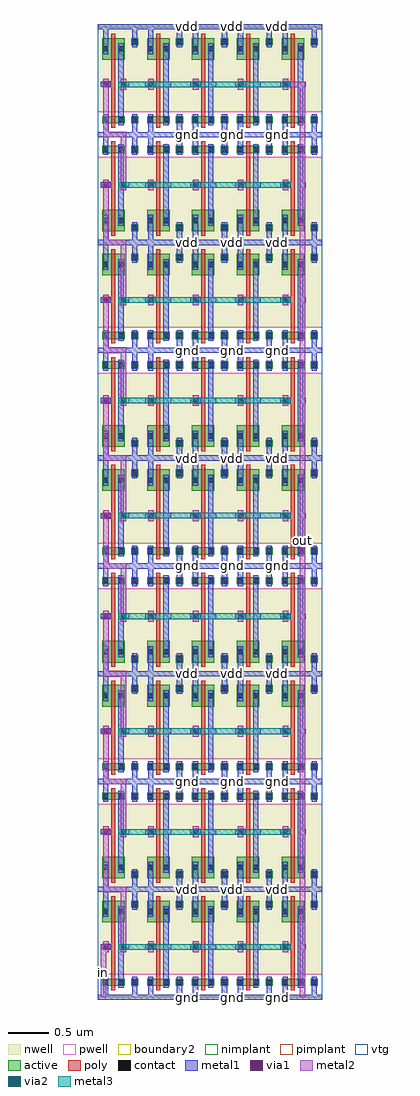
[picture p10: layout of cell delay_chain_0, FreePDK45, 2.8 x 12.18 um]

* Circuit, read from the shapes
.subckt delay_chain_0 gnd in out vdd
M1 pinv_18_1/A in gnd gnd nfet w=0.09u l=0.05u
M2 pinv_18_10/A pinv_18_1/A gnd gnd nfet w=0.09u l=0.05u
M3 pinv_18_11/A pinv_18_10/A gnd gnd nfet w=0.09u l=0.05u
M4 pinv_18_16/A pinv_18_11/A gnd gnd nfet w=0.09u l=0.05u
M5 pinv_18_21/A pinv_18_16/A gnd gnd nfet w=0.09u l=0.05u
M6 pinv_18_26/A pinv_18_21/A gnd gnd nfet w=0.09u l=0.05u
M7 pinv_18_31/A pinv_18_26/A gnd gnd nfet w=0.09u l=0.05u
M8 pinv_18_36/A pinv_18_31/A gnd gnd nfet w=0.09u l=0.05u
M9 out pinv_18_36/A gnd gnd nfet w=0.09u l=0.05u
M10 pinv_18_1/Z pinv_18_1/A gnd gnd nfet w=0.09u l=0.05u
M11 pinv_18_6/Z pinv_18_10/A gnd gnd nfet w=0.09u l=0.05u
M12 pinv_18_11/Z pinv_18_11/A gnd gnd nfet w=0.09u l=0.05u
M13 pinv_18_16/Z pinv_18_16/A gnd gnd nfet w=0.09u l=0.05u
M14 pinv_18_21/Z pinv_18_21/A gnd gnd nfet w=0.09u l=0.05u
M15 pinv_18_26/Z pinv_18_26/A gnd gnd nfet w=0.09u l=0.05u
M16 pinv_18_31/Z pinv_18_31/A gnd gnd nfet w=0.09u l=0.05u
M17 pinv_18_36/Z pinv_18_36/A gnd gnd nfet w=0.09u l=0.05u
M18 pinv_18_41/Z out gnd gnd nfet w=0.09u l=0.05u
M19 pinv_18_2/Z pinv_18_1/A gnd gnd nfet w=0.09u l=0.05u
M20 pinv_18_7/Z pinv_18_10/A gnd gnd nfet w=0.09u l=0.05u
M21 pinv_18_12/Z pinv_18_11/A gnd gnd nfet w=0.09u l=0.05u
M22 pinv_18_17/Z pinv_18_16/A gnd gnd nfet w=0.09u l=0.05u
M23 pinv_18_22/Z pinv_18_21/A gnd gnd nfet w=0.09u l=0.05u
M24 pinv_18_27/Z pinv_18_26/A gnd gnd nfet w=0.09u l=0.05u
M25 pinv_18_32/Z pinv_18_31/A gnd gnd nfet w=0.09u l=0.05u
M26 pinv_18_37/Z pinv_18_36/A gnd gnd nfet w=0.09u l=0.05u
M27 pinv_18_42/Z out gnd gnd nfet w=0.09u l=0.05u
M28 pinv_18_3/Z pinv_18_1/A gnd gnd nfet w=0.09u l=0.05u
M29 pinv_18_8/Z pinv_18_10/A gnd gnd nfet w=0.09u l=0.05u
M30 pinv_18_13/Z pinv_18_11/A gnd gnd nfet w=0.09u l=0.05u
M31 pinv_18_18/Z pinv_18_16/A gnd gnd nfet w=0.09u l=0.05u
M32 pinv_18_23/Z pinv_18_21/A gnd gnd nfet w=0.09u l=0.05u
M33 pinv_18_28/Z pinv_18_26/A gnd gnd nfet w=0.09u l=0.05u
M34 pinv_18_33/Z pinv_18_31/A gnd gnd nfet w=0.09u l=0.05u
M35 pinv_18_38/Z pinv_18_36/A gnd gnd nfet w=0.09u l=0.05u
M36 pinv_18_43/Z out gnd gnd nfet w=0.09u l=0.05u
M37 pinv_18_4/Z pinv_18_1/A gnd gnd nfet w=0.09u l=0.05u
M38 pinv_18_9/Z pinv_18_10/A gnd gnd nfet w=0.09u l=0.05u
M39 pinv_18_14/Z pinv_18_11/A gnd gnd nfet w=0.09u l=0.05u
M40 pinv_18_19/Z pinv_18_16/A gnd gnd nfet w=0.09u l=0.05u
M41 pinv_18_24/Z pinv_18_21/A gnd gnd nfet w=0.09u l=0.05u
M42 pinv_18_29/Z pinv_18_26/A gnd gnd nfet w=0.09u l=0.05u
M43 pinv_18_34/Z pinv_18_31/A gnd gnd nfet w=0.09u l=0.05u
M44 pinv_18_39/Z pinv_18_36/A gnd gnd nfet w=0.09u l=0.05u
M45 pinv_18_44/Z out gnd gnd nfet w=0.09u l=0.05u
M46 pinv_18_1/A in vdd vdd pfet w=0.27u l=0.05u
M47 pinv_18_10/A pinv_18_1/A vdd vdd pfet w=0.27u l=0.05u
M48 pinv_18_11/A pinv_18_10/A vdd vdd pfet w=0.27u l=0.05u
M49 pinv_18_16/A pinv_18_11/A vdd vdd pfet w=0.27u l=0.05u
M50 pinv_18_21/A pinv_18_16/A vdd vdd pfet w=0.27u l=0.05u
M51 pinv_18_26/A pinv_18_21/A vdd vdd pfet w=0.27u l=0.05u
M52 pinv_18_31/A pinv_18_26/A vdd vdd pfet w=0.27u l=0.05u
M53 pinv_18_36/A pinv_18_31/A vdd vdd pfet w=0.27u l=0.05u
M54 out pinv_18_36/A vdd vdd pfet w=0.27u l=0.05u
M55 pinv_18_1/Z pinv_18_1/A vdd vdd pfet w=0.27u l=0.05u
M56 pinv_18_6/Z pinv_18_10/A vdd vdd pfet w=0.27u l=0.05u
M57 pinv_18_11/Z pinv_18_11/A vdd vdd pfet w=0.27u l=0.05u
M58 pinv_18_16/Z pinv_18_16/A vdd vdd pfet w=0.27u l=0.05u
M59 pinv_18_21/Z pinv_18_21/A vdd vdd pfet w=0.27u l=0.05u
M60 pinv_18_26/Z pinv_18_26/A vdd vdd pfet w=0.27u l=0.05u
M61 pinv_18_31/Z pinv_18_31/A vdd vdd pfet w=0.27u l=0.05u
M62 pinv_18_36/Z pinv_18_36/A vdd vdd pfet w=0.27u l=0.05u
M63 pinv_18_41/Z out vdd vdd pfet w=0.27u l=0.05u
M64 pinv_18_2/Z pinv_18_1/A vdd vdd pfet w=0.27u l=0.05u
M65 pinv_18_7/Z pinv_18_10/A vdd vdd pfet w=0.27u l=0.05u
M66 pinv_18_12/Z pinv_18_11/A vdd vdd pfet w=0.27u l=0.05u
M67 pinv_18_17/Z pinv_18_16/A vdd vdd pfet w=0.27u l=0.05u
M68 pinv_18_22/Z pinv_18_21/A vdd vdd pfet w=0.27u l=0.05u
M69 pinv_18_27/Z pinv_18_26/A vdd vdd pfet w=0.27u l=0.05u
M70 pinv_18_32/Z pinv_18_31/A vdd vdd pfet w=0.27u l=0.05u
M71 pinv_18_37/Z pinv_18_36/A vdd vdd pfet w=0.27u l=0.05u
M72 pinv_18_42/Z out vdd vdd pfet w=0.27u l=0.05u
M73 pinv_18_3/Z pinv_18_1/A vdd vdd pfet w=0.27u l=0.05u
M74 pinv_18_8/Z pinv_18_10/A vdd vdd pfet w=0.27u l=0.05u
M75 pinv_18_13/Z pinv_18_11/A vdd vdd pfet w=0.27u l=0.05u
M76 pinv_18_18/Z pinv_18_16/A vdd vdd pfet w=0.27u l=0.05u
M77 pinv_18_23/Z pinv_18_21/A vdd vdd pfet w=0.27u l=0.05u
M78 pinv_18_28/Z pinv_18_26/A vdd vdd pfet w=0.27u l=0.05u
M79 pinv_18_33/Z pinv_18_31/A vdd vdd pfet w=0.27u l=0.05u
M80 pinv_18_38/Z pinv_18_36/A vdd vdd pfet w=0.27u l=0.05u
M81 pinv_18_43/Z out vdd vdd pfet w=0.27u l=0.05u
M82 pinv_18_4/Z pinv_18_1/A vdd vdd pfet w=0.27u l=0.05u
M83 pinv_18_9/Z pinv_18_10/A vdd vdd pfet w=0.27u l=0.05u
M84 pinv_18_14/Z pinv_18_11/A vdd vdd pfet w=0.27u l=0.05u
M85 pinv_18_19/Z pinv_18_16/A vdd vdd pfet w=0.27u l=0.05u
M86 pinv_18_24/Z pinv_18_21/A vdd vdd pfet w=0.27u l=0.05u
M87 pinv_18_29/Z pinv_18_26/A vdd vdd pfet w=0.27u l=0.05u
M88 pinv_18_34/Z pinv_18_31/A vdd vdd pfet w=0.27u l=0.05u
M89 pinv_18_39/Z pinv_18_36/A vdd vdd pfet w=0.27u l=0.05u
M90 pinv_18_44/Z out vdd vdd pfet w=0.27u l=0.05u
.ends

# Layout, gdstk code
import gdstk
lib = gdstk.Library(unit=1e-6, precision=5e-10)
def R(c, l, rs):  # rectangles x0, y0, x1, y1
    for r in rs: c.add(gdstk.rectangle(r[:2], r[2:], *l))
def A(c, l, x, y, w, h, nx, ny, dx, dy):  # array of equal rectangles
    R(c, l, [(x+i*dx, y+j*dy, x+i*dx+w, y+j*dy+h) for i in range(nx) for j in range(ny)])
active = (1, 0)
pwell = (2, 0)
nwell = (3, 0)
nimplant = (4, 0)
pimplant = (5, 0)
vtg = (6, 0)
poly = (9, 0)
contact = (10, 0)
metal1 = (11, 0)
via1 = (12, 0)
metal2 = (13, 0)
via2 = (14, 0)
metal3 = (15, 0)
boundary2 = (239, 0)

contact_9 = lib.new_cell('contact_9')
R(contact_9, active, [(0,0.0225,0.09,0.1125)])
R(contact_9, nwell, [(-0.055,-0.0325,0.145,0.1675)])
R(contact_9, pimplant, [(0,0.0225,0.09,0.1125)])
R(contact_9, contact, [(0.0125,0.035,0.0775,0.1)])
R(contact_9, metal1, [(0.0125,0,0.0775,0.135)])

pmos_m1_w0_270_a_p = lib.new_cell('pmos_m1_w0_270_a_p')
R(pmos_m1_w0_270_a_p, active, [(0,0,0.28,0.27)])
R(pmos_m1_w0_270_a_p, nwell, [(-0.055,-0.055,0.335,0.325)])
R(pmos_m1_w0_270_a_p, pimplant, [(0,0,0.28,0.27)])
R(pmos_m1_w0_270_a_p, vtg, [(-0.055,-0.055,0.335,0.325)])
R(pmos_m1_w0_270_a_p, poly, [(0.115,-0.055,0.165,0.325), (0.115,-0.055,0.165,0.325)])
R(pmos_m1_w0_270_a_p, metal1, [(0.0125,0.0675,0.0775,0.2025), (0.2025,0.0675,0.2675,0.2025)])
pmos_m1_w0_270_a_p.add(gdstk.Reference(contact_9, (0,0.0675)))
pmos_m1_w0_270_a_p.add(gdstk.Reference(contact_9, (0.19,0.0675)))
pmos_m1_w0_270_a_p.add(gdstk.Label('G', (0.14,0.135), layer=9, texttype=0))
pmos_m1_w0_270_a_p.add(gdstk.Label('S', (0.045,0.135), layer=11, texttype=0))
pmos_m1_w0_270_a_p.add(gdstk.Label('D', (0.235,0.135), layer=11, texttype=0))

contact_14 = lib.new_cell('contact_14')
R(contact_14, active, [(0,0.0225,0.09,0.1125)])
R(contact_14, pwell, [(-0.055,-0.0325,0.145,0.1675)])
R(contact_14, nimplant, [(0,0.0225,0.09,0.1125)])
R(contact_14, contact, [(0.0125,0.035,0.0775,0.1)])
R(contact_14, metal1, [(0.0125,0,0.0775,0.135)])

nmos_m1_w0_090_a_p = lib.new_cell('nmos_m1_w0_090_a_p')
R(nmos_m1_w0_090_a_p, active, [(0,0,0.28,0.09)])
R(nmos_m1_w0_090_a_p, pwell, [(-0.055,-0.055,0.335,0.145)])
R(nmos_m1_w0_090_a_p, nimplant, [(0,0,0.28,0.09)])
R(nmos_m1_w0_090_a_p, vtg, [(-0.055,-0.055,0.335,0.145)])
R(nmos_m1_w0_090_a_p, poly, [(0.115,-0.055,0.165,0.145), (0.115,-0.055,0.165,0.145)])
R(nmos_m1_w0_090_a_p, metal1, [(0.0125,-0.0225,0.0775,0.1125), (0.2025,-0.0225,0.2675,0.1125)])
nmos_m1_w0_090_a_p.add(gdstk.Reference(contact_14, (0,-0.0225)))
nmos_m1_w0_090_a_p.add(gdstk.Reference(contact_14, (0.19,-0.0225)))
nmos_m1_w0_090_a_p.add(gdstk.Label('G', (0.14,0.045), layer=9, texttype=0))
nmos_m1_w0_090_a_p.add(gdstk.Label('S', (0.045,0.045), layer=11, texttype=0))
nmos_m1_w0_090_a_p.add(gdstk.Label('D', (0.235,0.045), layer=11, texttype=0))

contact_18 = lib.new_cell('contact_18')
R(contact_18, active, [(0,0.0225,0.09,0.1125)])
R(contact_18, nwell, [(-0.055,-0.0325,0.145,0.1675)])
R(contact_18, nimplant, [(0,0.0225,0.09,0.1125)])
R(contact_18, contact, [(0.0125,0.035,0.0775,0.1)])
R(contact_18, metal1, [(0.0125,0,0.0775,0.135)])

contact_19 = lib.new_cell('contact_19')
R(contact_19, active, [(0,0.0225,0.09,0.1125)])
R(contact_19, pwell, [(-0.055,-0.0325,0.145,0.1675)])
R(contact_19, pimplant, [(0,0.0225,0.09,0.1125)])
R(contact_19, contact, [(0.0125,0.035,0.0775,0.1)])
R(contact_19, metal1, [(0.0125,0,0.0775,0.135)])

contact_10 = lib.new_cell('contact_10')
R(contact_10, poly, [(0.03,0,0.105,0.075)])
R(contact_10, contact, [(0.035,0.005,0.1,0.07)])
R(contact_10, metal1, [(0,0.005,0.135,0.07)])

pinv_18 = lib.new_cell('pinv_18')
R(pinv_18, pwell, [(0,-0.0325,0.56,0.285)])
R(pinv_18, nwell, [(0,0.285,0.56,1.3775)])
R(pinv_18, vtg, [(0,-0.0325,0.56,0.285), (0,0.285,0.56,1.3775)])
R(pinv_18, poly, [(0.17,0.085,0.22,0.88), (0.1025,0.59,0.17,0.665)])
R(pinv_18, metal1, [(0,-0.0325,0.56,0.0325), (0.0675,-0.0325,0.1325,0.1175), (0.4275,0,0.4925,0.185), (0.2575,0.1175,0.3225,1.1375), (0.035,0.595,0.17,0.66), (0.29,0.595,0.355,0.66), (0.0675,1.0025,0.1325,1.3775), (0.4275,1.16,0.4925,1.345), (0,1.3125,0.56,1.3775)])
R(pinv_18, boundary2, [(0,0,0.56,1.345)])
pinv_18.add(gdstk.Reference(pmos_m1_w0_270_a_p, (0.055,0.935)))
pinv_18.add(gdstk.Reference(nmos_m1_w0_090_a_p, (0.055,0.14)))
pinv_18.add(gdstk.Reference(contact_18, (0.415,1.0925)))
pinv_18.add(gdstk.Reference(contact_19, (0.415,0.1175)))
pinv_18.add(gdstk.Reference(contact_10, (0.035,0.59)))
pinv_18.add(gdstk.Label('gnd', (0.28,0), layer=11, texttype=0))
pinv_18.add(gdstk.Label('vdd', (0.28,1.345), layer=11, texttype=0))
pinv_18.add(gdstk.Label('A', (0.1025,0.6275), layer=11, texttype=0))
pinv_18.add(gdstk.Label('Z', (0.3225,0.6275), layer=11, texttype=0))

contact_16 = lib.new_cell('contact_16')
R(contact_16, metal1, [(0,0.035,0.135,0.1)])
R(contact_16, via1, [(0.035,0.035,0.1,0.1)])
R(contact_16, metal2, [(0.0325,0,0.1025,0.135)])

contact_7 = lib.new_cell('contact_7')
R(contact_7, metal2, [(0.0325,0,0.1025,0.135)])
R(contact_7, via2, [(0.035,0.035,0.1,0.1)])
R(contact_7, metal3, [(0,0.0325,0.135,0.1025)])

contact_5 = lib.new_cell('contact_5')
R(contact_5, metal1, [(0,0.0025,0.135,0.0675)])
R(contact_5, via1, [(0.035,0.0025,0.1,0.0675)])
R(contact_5, metal2, [(0,0,0.135,0.07)])

contact_6 = lib.new_cell('contact_6')
R(contact_6, metal2, [(0,0,0.135,0.07)])
R(contact_6, via2, [(0.035,0.0025,0.1,0.0675)])
R(contact_6, metal3, [(0,0,0.135,0.07)])

delay_chain_0 = lib.new_cell('delay_chain_0')
A(delay_chain_0, metal2, 0.2875, 0.6275, 0.07, 0.7175, 1, 4, 0, 2.69)
A(delay_chain_0, metal2, 0.0675, 1.31, 0.07, 0.07, 1, 8, 0, 1.345)
A(delay_chain_0, metal2, 0.1025, 1.31, 0.22, 0.07, 1, 8, 0, 1.345)
A(delay_chain_0, metal2, 0.2875, 1.31, 0.07, 0.07, 1, 8, 0, 1.345)
A(delay_chain_0, metal2, 0.0675, 1.345, 0.07, 0.7175, 1, 4, 0, 2.69)
A(delay_chain_0, metal2, 0.2875, 2.0625, 0.07, 0.6275, 1, 4, 0, 2.69)
A(delay_chain_0, metal2, 0.0675, 2.69, 0.07, 0.6275, 1, 4, 0, 2.69)
R(delay_chain_0, metal2, [(0.035,0,0.105,0.6275), (2.5175,0,2.5875,11.3875), (2.5175,0,2.5875,11.3875), (2.3425,11.3525,2.5525,11.4225), (2.5175,11.3525,2.5875,11.4225)])
A(delay_chain_0, metal3, 1.0525, -0.035, 0.135, 0.07, 3, 10, 0.56, 1.345)
R(delay_chain_0, metal3, [(0.3225,0.5925,2.3425,0.6625), (0.3225,2.0275,2.3425,2.0975), (0.3225,3.2825,2.3425,3.3525), (0.3225,4.7175,2.3425,4.7875), (0.3225,5.9725,2.3425,6.0425), (0.3225,7.4075,2.3425,7.4775), (0.3225,8.6625,2.3425,8.7325), (0.3225,10.0975,2.3425,10.1675), (0.3225,11.3525,2.3425,11.4225)])
R(delay_chain_0, boundary2, [(0,0,2.8,12.105)])
delay_chain_0.add(gdstk.Reference(pinv_18, (0,0)))
delay_chain_0.add(gdstk.Reference(pinv_18, (0.56,0)))
delay_chain_0.add(gdstk.Reference(pinv_18, (1.12,0)))
delay_chain_0.add(gdstk.Reference(pinv_18, (1.68,0)))
delay_chain_0.add(gdstk.Reference(pinv_18, (2.24,0)))
delay_chain_0.add(gdstk.Reference(pinv_18, (0,2.69), x_reflection=True))
delay_chain_0.add(gdstk.Reference(pinv_18, (0.56,2.69), x_reflection=True))
delay_chain_0.add(gdstk.Reference(pinv_18, (1.12,2.69), x_reflection=True))
delay_chain_0.add(gdstk.Reference(pinv_18, (1.68,2.69), x_reflection=True))
delay_chain_0.add(gdstk.Reference(pinv_18, (2.24,2.69), x_reflection=True))
delay_chain_0.add(gdstk.Reference(pinv_18, (0,2.69)))
delay_chain_0.add(gdstk.Reference(pinv_18, (0.56,2.69)))
delay_chain_0.add(gdstk.Reference(pinv_18, (1.12,2.69)))
delay_chain_0.add(gdstk.Reference(pinv_18, (1.68,2.69)))
delay_chain_0.add(gdstk.Reference(pinv_18, (2.24,2.69)))
delay_chain_0.add(gdstk.Reference(pinv_18, (0,5.38), x_reflection=True))
delay_chain_0.add(gdstk.Reference(pinv_18, (0.56,5.38), x_reflection=True))
delay_chain_0.add(gdstk.Reference(pinv_18, (1.12,5.38), x_reflection=True))
delay_chain_0.add(gdstk.Reference(pinv_18, (1.68,5.38), x_reflection=True))
delay_chain_0.add(gdstk.Reference(pinv_18, (2.24,5.38), x_reflection=True))
delay_chain_0.add(gdstk.Reference(pinv_18, (0,5.38)))
delay_chain_0.add(gdstk.Reference(pinv_18, (0.56,5.38)))
delay_chain_0.add(gdstk.Reference(pinv_18, (1.12,5.38)))
delay_chain_0.add(gdstk.Reference(pinv_18, (1.68,5.38)))
delay_chain_0.add(gdstk.Reference(pinv_18, (2.24,5.38)))
delay_chain_0.add(gdstk.Reference(pinv_18, (0,8.07), x_reflection=True))
delay_chain_0.add(gdstk.Reference(pinv_18, (0.56,8.07), x_reflection=True))
delay_chain_0.add(gdstk.Reference(pinv_18, (1.12,8.07), x_reflection=True))
delay_chain_0.add(gdstk.Reference(pinv_18, (1.68,8.07), x_reflection=True))
delay_chain_0.add(gdstk.Reference(pinv_18, (2.24,8.07), x_reflection=True))
delay_chain_0.add(gdstk.Reference(pinv_18, (0,8.07)))
delay_chain_0.add(gdstk.Reference(pinv_18, (0.56,8.07)))
delay_chain_0.add(gdstk.Reference(pinv_18, (1.12,8.07)))
delay_chain_0.add(gdstk.Reference(pinv_18, (1.68,8.07)))
delay_chain_0.add(gdstk.Reference(pinv_18, (2.24,8.07)))
delay_chain_0.add(gdstk.Reference(pinv_18, (0,10.76), x_reflection=True))
delay_chain_0.add(gdstk.Reference(pinv_18, (0.56,10.76), x_reflection=True))
delay_chain_0.add(gdstk.Reference(pinv_18, (1.12,10.76), x_reflection=True))
delay_chain_0.add(gdstk.Reference(pinv_18, (1.68,10.76), x_reflection=True))
delay_chain_0.add(gdstk.Reference(pinv_18, (2.24,10.76), x_reflection=True))
delay_chain_0.add(gdstk.Reference(pinv_18, (0,10.76)))
delay_chain_0.add(gdstk.Reference(pinv_18, (0.56,10.76)))
delay_chain_0.add(gdstk.Reference(pinv_18, (1.12,10.76)))
delay_chain_0.add(gdstk.Reference(pinv_18, (1.68,10.76)))
delay_chain_0.add(gdstk.Reference(pinv_18, (2.24,10.76)))
delay_chain_0.add(gdstk.Reference(contact_16, (0.595,0.56)))
delay_chain_0.add(gdstk.Reference(contact_7, (0.595,0.56)))
delay_chain_0.add(gdstk.Reference(contact_16, (1.155,0.56)))
delay_chain_0.add(gdstk.Reference(contact_7, (1.155,0.56)))
delay_chain_0.add(gdstk.Reference(contact_16, (1.715,0.56)))
delay_chain_0.add(gdstk.Reference(contact_7, (1.715,0.56)))
delay_chain_0.add(gdstk.Reference(contact_16, (2.275,0.56)))
delay_chain_0.add(gdstk.Reference(contact_7, (2.275,0.56)))
delay_chain_0.add(gdstk.Reference(contact_16, (0.035,0.56)))
delay_chain_0.add(gdstk.Reference(contact_16, (0.255,0.56)))
delay_chain_0.add(gdstk.Reference(contact_7, (0.255,0.56)))
delay_chain_0.add(gdstk.Reference(contact_16, (0.595,1.995)))
delay_chain_0.add(gdstk.Reference(contact_7, (0.595,1.995)))
delay_chain_0.add(gdstk.Reference(contact_16, (1.155,1.995)))
delay_chain_0.add(gdstk.Reference(contact_7, (1.155,1.995)))
delay_chain_0.add(gdstk.Reference(contact_16, (1.715,1.995)))
delay_chain_0.add(gdstk.Reference(contact_7, (1.715,1.995)))
delay_chain_0.add(gdstk.Reference(contact_16, (2.275,1.995)))
delay_chain_0.add(gdstk.Reference(contact_7, (2.275,1.995)))
delay_chain_0.add(gdstk.Reference(contact_16, (0.035,1.995)))
delay_chain_0.add(gdstk.Reference(contact_16, (0.255,1.995)))
delay_chain_0.add(gdstk.Reference(contact_7, (0.255,1.995)))
delay_chain_0.add(gdstk.Reference(contact_16, (0.595,3.25)))
delay_chain_0.add(gdstk.Reference(contact_7, (0.595,3.25)))
delay_chain_0.add(gdstk.Reference(contact_16, (1.155,3.25)))
delay_chain_0.add(gdstk.Reference(contact_7, (1.155,3.25)))
delay_chain_0.add(gdstk.Reference(contact_16, (1.715,3.25)))
delay_chain_0.add(gdstk.Reference(contact_7, (1.715,3.25)))
delay_chain_0.add(gdstk.Reference(contact_16, (2.275,3.25)))
delay_chain_0.add(gdstk.Reference(contact_7, (2.275,3.25)))
delay_chain_0.add(gdstk.Reference(contact_16, (0.035,3.25)))
delay_chain_0.add(gdstk.Reference(contact_16, (0.255,3.25)))
delay_chain_0.add(gdstk.Reference(contact_7, (0.255,3.25)))
delay_chain_0.add(gdstk.Reference(contact_16, (0.595,4.685)))
delay_chain_0.add(gdstk.Reference(contact_7, (0.595,4.685)))
delay_chain_0.add(gdstk.Reference(contact_16, (1.155,4.685)))
delay_chain_0.add(gdstk.Reference(contact_7, (1.155,4.685)))
delay_chain_0.add(gdstk.Reference(contact_16, (1.715,4.685)))
delay_chain_0.add(gdstk.Reference(contact_7, (1.715,4.685)))
delay_chain_0.add(gdstk.Reference(contact_16, (2.275,4.685)))
delay_chain_0.add(gdstk.Reference(contact_7, (2.275,4.685)))
delay_chain_0.add(gdstk.Reference(contact_16, (0.035,4.685)))
delay_chain_0.add(gdstk.Reference(contact_16, (0.255,4.685)))
delay_chain_0.add(gdstk.Reference(contact_7, (0.255,4.685)))
delay_chain_0.add(gdstk.Reference(contact_16, (0.595,5.94)))
delay_chain_0.add(gdstk.Reference(contact_7, (0.595,5.94)))
delay_chain_0.add(gdstk.Reference(contact_16, (1.155,5.94)))
delay_chain_0.add(gdstk.Reference(contact_7, (1.155,5.94)))
delay_chain_0.add(gdstk.Reference(contact_16, (1.715,5.94)))
delay_chain_0.add(gdstk.Reference(contact_7, (1.715,5.94)))
delay_chain_0.add(gdstk.Reference(contact_16, (2.275,5.94)))
delay_chain_0.add(gdstk.Reference(contact_7, (2.275,5.94)))
delay_chain_0.add(gdstk.Reference(contact_16, (0.035,5.94)))
delay_chain_0.add(gdstk.Reference(contact_16, (0.255,5.94)))
delay_chain_0.add(gdstk.Reference(contact_7, (0.255,5.94)))
delay_chain_0.add(gdstk.Reference(contact_16, (0.595,7.375)))
delay_chain_0.add(gdstk.Reference(contact_7, (0.595,7.375)))
delay_chain_0.add(gdstk.Reference(contact_16, (1.155,7.375)))
delay_chain_0.add(gdstk.Reference(contact_7, (1.155,7.375)))
delay_chain_0.add(gdstk.Reference(contact_16, (1.715,7.375)))
delay_chain_0.add(gdstk.Reference(contact_7, (1.715,7.375)))
delay_chain_0.add(gdstk.Reference(contact_16, (2.275,7.375)))
delay_chain_0.add(gdstk.Reference(contact_7, (2.275,7.375)))
delay_chain_0.add(gdstk.Reference(contact_16, (0.035,7.375)))
delay_chain_0.add(gdstk.Reference(contact_16, (0.255,7.375)))
delay_chain_0.add(gdstk.Reference(contact_7, (0.255,7.375)))
delay_chain_0.add(gdstk.Reference(contact_16, (0.595,8.63)))
delay_chain_0.add(gdstk.Reference(contact_7, (0.595,8.63)))
delay_chain_0.add(gdstk.Reference(contact_16, (1.155,8.63)))
delay_chain_0.add(gdstk.Reference(contact_7, (1.155,8.63)))
delay_chain_0.add(gdstk.Reference(contact_16, (1.715,8.63)))
delay_chain_0.add(gdstk.Reference(contact_7, (1.715,8.63)))
delay_chain_0.add(gdstk.Reference(contact_16, (2.275,8.63)))
delay_chain_0.add(gdstk.Reference(contact_7, (2.275,8.63)))
delay_chain_0.add(gdstk.Reference(contact_16, (0.035,8.63)))
delay_chain_0.add(gdstk.Reference(contact_16, (0.255,8.63)))
delay_chain_0.add(gdstk.Reference(contact_7, (0.255,8.63)))
delay_chain_0.add(gdstk.Reference(contact_16, (0.595,10.065)))
delay_chain_0.add(gdstk.Reference(contact_7, (0.595,10.065)))
delay_chain_0.add(gdstk.Reference(contact_16, (1.155,10.065)))
delay_chain_0.add(gdstk.Reference(contact_7, (1.155,10.065)))
delay_chain_0.add(gdstk.Reference(contact_16, (1.715,10.065)))
delay_chain_0.add(gdstk.Reference(contact_7, (1.715,10.065)))
delay_chain_0.add(gdstk.Reference(contact_16, (2.275,10.065)))
delay_chain_0.add(gdstk.Reference(contact_7, (2.275,10.065)))
delay_chain_0.add(gdstk.Reference(contact_16, (0.035,10.065)))
delay_chain_0.add(gdstk.Reference(contact_16, (0.255,10.065)))
delay_chain_0.add(gdstk.Reference(contact_7, (0.255,10.065)))
delay_chain_0.add(gdstk.Reference(contact_16, (0.595,11.32)))
delay_chain_0.add(gdstk.Reference(contact_7, (0.595,11.32)))
delay_chain_0.add(gdstk.Reference(contact_16, (1.155,11.32)))
delay_chain_0.add(gdstk.Reference(contact_7, (1.155,11.32)))
delay_chain_0.add(gdstk.Reference(contact_16, (1.715,11.32)))
delay_chain_0.add(gdstk.Reference(contact_7, (1.715,11.32)))
delay_chain_0.add(gdstk.Reference(contact_16, (2.275,11.32)))
delay_chain_0.add(gdstk.Reference(contact_7, (2.275,11.32)))
delay_chain_0.add(gdstk.Reference(contact_16, (0.035,11.32)))
delay_chain_0.add(gdstk.Reference(contact_16, (0.255,11.32)))
delay_chain_0.add(gdstk.Reference(contact_7, (0.255,11.32)))
delay_chain_0.add(gdstk.Reference(contact_5, (1.0525,1.31)))
delay_chain_0.add(gdstk.Reference(contact_6, (1.0525,1.31)))
delay_chain_0.add(gdstk.Reference(contact_5, (1.0525,-0.035)))
delay_chain_0.add(gdstk.Reference(contact_6, (1.0525,-0.035)))
delay_chain_0.add(gdstk.Reference(contact_5, (1.6125,1.31)))
delay_chain_0.add(gdstk.Reference(contact_6, (1.6125,1.31)))
delay_chain_0.add(gdstk.Reference(contact_5, (1.6125,-0.035)))
delay_chain_0.add(gdstk.Reference(contact_6, (1.6125,-0.035)))
delay_chain_0.add(gdstk.Reference(contact_5, (2.1725,1.31)))
delay_chain_0.add(gdstk.Reference(contact_6, (2.1725,1.31)))
delay_chain_0.add(gdstk.Reference(contact_5, (2.1725,-0.035)))
delay_chain_0.add(gdstk.Reference(contact_6, (2.1725,-0.035)))
delay_chain_0.add(gdstk.Reference(contact_5, (1.0525,4)))
delay_chain_0.add(gdstk.Reference(contact_6, (1.0525,4)))
delay_chain_0.add(gdstk.Reference(contact_5, (1.0525,2.655)))
delay_chain_0.add(gdstk.Reference(contact_6, (1.0525,2.655)))
delay_chain_0.add(gdstk.Reference(contact_5, (1.6125,4)))
delay_chain_0.add(gdstk.Reference(contact_6, (1.6125,4)))
delay_chain_0.add(gdstk.Reference(contact_5, (1.6125,2.655)))
delay_chain_0.add(gdstk.Reference(contact_6, (1.6125,2.655)))
delay_chain_0.add(gdstk.Reference(contact_5, (2.1725,4)))
delay_chain_0.add(gdstk.Reference(contact_6, (2.1725,4)))
delay_chain_0.add(gdstk.Reference(contact_5, (2.1725,2.655)))
delay_chain_0.add(gdstk.Reference(contact_6, (2.1725,2.655)))
delay_chain_0.add(gdstk.Reference(contact_5, (1.0525,6.69)))
delay_chain_0.add(gdstk.Reference(contact_6, (1.0525,6.69)))
delay_chain_0.add(gdstk.Reference(contact_5, (1.0525,5.345)))
delay_chain_0.add(gdstk.Reference(contact_6, (1.0525,5.345)))
delay_chain_0.add(gdstk.Reference(contact_5, (1.6125,6.69)))
delay_chain_0.add(gdstk.Reference(contact_6, (1.6125,6.69)))
delay_chain_0.add(gdstk.Reference(contact_5, (1.6125,5.345)))
delay_chain_0.add(gdstk.Reference(contact_6, (1.6125,5.345)))
delay_chain_0.add(gdstk.Reference(contact_5, (2.1725,6.69)))
delay_chain_0.add(gdstk.Reference(contact_6, (2.1725,6.69)))
delay_chain_0.add(gdstk.Reference(contact_5, (2.1725,5.345)))
delay_chain_0.add(gdstk.Reference(contact_6, (2.1725,5.345)))
delay_chain_0.add(gdstk.Reference(contact_5, (1.0525,9.38)))
delay_chain_0.add(gdstk.Reference(contact_6, (1.0525,9.38)))
delay_chain_0.add(gdstk.Reference(contact_5, (1.0525,8.035)))
delay_chain_0.add(gdstk.Reference(contact_6, (1.0525,8.035)))
delay_chain_0.add(gdstk.Reference(contact_5, (1.6125,9.38)))
delay_chain_0.add(gdstk.Reference(contact_6, (1.6125,9.38)))
delay_chain_0.add(gdstk.Reference(contact_5, (1.6125,8.035)))
delay_chain_0.add(gdstk.Reference(contact_6, (1.6125,8.035)))
delay_chain_0.add(gdstk.Reference(contact_5, (2.1725,9.38)))
delay_chain_0.add(gdstk.Reference(contact_6, (2.1725,9.38)))
delay_chain_0.add(gdstk.Reference(contact_5, (2.1725,8.035)))
delay_chain_0.add(gdstk.Reference(contact_6, (2.1725,8.035)))
delay_chain_0.add(gdstk.Reference(contact_5, (1.0525,12.07)))
delay_chain_0.add(gdstk.Reference(contact_6, (1.0525,12.07)))
delay_chain_0.add(gdstk.Reference(contact_5, (1.0525,10.725)))
delay_chain_0.add(gdstk.Reference(contact_6, (1.0525,10.725)))
delay_chain_0.add(gdstk.Reference(contact_5, (1.6125,12.07)))
delay_chain_0.add(gdstk.Reference(contact_6, (1.6125,12.07)))
delay_chain_0.add(gdstk.Reference(contact_5, (1.6125,10.725)))
delay_chain_0.add(gdstk.Reference(contact_6, (1.6125,10.725)))
delay_chain_0.add(gdstk.Reference(contact_5, (2.1725,12.07)))
delay_chain_0.add(gdstk.Reference(contact_6, (2.1725,12.07)))
delay_chain_0.add(gdstk.Reference(contact_5, (2.1725,10.725)))
delay_chain_0.add(gdstk.Reference(contact_6, (2.1725,10.725)))
delay_chain_0.add(gdstk.Reference(contact_5, (1.0525,10.725)))
delay_chain_0.add(gdstk.Reference(contact_6, (1.0525,10.725)))
delay_chain_0.add(gdstk.Reference(contact_5, (1.6125,10.725)))
delay_chain_0.add(gdstk.Reference(contact_6, (1.6125,10.725)))
delay_chain_0.add(gdstk.Reference(contact_5, (2.1725,10.725)))
delay_chain_0.add(gdstk.Reference(contact_6, (2.1725,10.725)))
delay_chain_0.add(gdstk.Reference(contact_16, (0.035,0.56)))
delay_chain_0.add(gdstk.Reference(contact_16, (2.275,11.32)))
delay_chain_0.add(gdstk.Label('vdd', (1.68,6.725), layer=15, texttype=0))
delay_chain_0.add(gdstk.Label('vdd', (2.24,4.035), layer=15, texttype=0))
delay_chain_0.add(gdstk.Label('vdd', (1.12,9.415), layer=15, texttype=0))
delay_chain_0.add(gdstk.Label('vdd', (2.24,12.105), layer=15, texttype=0))
delay_chain_0.add(gdstk.Label('vdd', (1.68,4.035), layer=15, texttype=0))
delay_chain_0.add(gdstk.Label('vdd', (2.24,9.415), layer=15, texttype=0))
delay_chain_0.add(gdstk.Label('vdd', (1.12,4.035), layer=15, texttype=0))
delay_chain_0.add(gdstk.Label('vdd', (1.68,9.415), layer=15, texttype=0))
delay_chain_0.add(gdstk.Label('vdd', (1.12,1.345), layer=15, texttype=0))
delay_chain_0.add(gdstk.Label('vdd', (1.68,1.345), layer=15, texttype=0))
delay_chain_0.add(gdstk.Label('vdd', (2.24,6.725), layer=15, texttype=0))
delay_chain_0.add(gdstk.Label('vdd', (1.12,12.105), layer=15, texttype=0))
delay_chain_0.add(gdstk.Label('vdd', (1.12,6.725), layer=15, texttype=0))
delay_chain_0.add(gdstk.Label('vdd', (2.24,1.345), layer=15, texttype=0))
delay_chain_0.add(gdstk.Label('vdd', (1.68,12.105), layer=15, texttype=0))
delay_chain_0.add(gdstk.Label('gnd', (2.24,0), layer=15, texttype=0))
delay_chain_0.add(gdstk.Label('gnd', (1.12,2.69), layer=15, texttype=0))
delay_chain_0.add(gdstk.Label('gnd', (1.68,5.38), layer=15, texttype=0))
delay_chain_0.add(gdstk.Label('gnd', (1.12,8.07), layer=15, texttype=0))
delay_chain_0.add(gdstk.Label('gnd', (2.24,8.07), layer=15, texttype=0))
delay_chain_0.add(gdstk.Label('gnd', (1.68,10.76), layer=15, texttype=0))
delay_chain_0.add(gdstk.Label('gnd', (2.24,10.76), layer=15, texttype=0))
delay_chain_0.add(gdstk.Label('gnd', (1.12,10.76), layer=15, texttype=0))
delay_chain_0.add(gdstk.Label('gnd', (1.68,0), layer=15, texttype=0))
delay_chain_0.add(gdstk.Label('gnd', (1.12,0), layer=15, texttype=0))
delay_chain_0.add(gdstk.Label('gnd', (2.24,2.69), layer=15, texttype=0))
delay_chain_0.add(gdstk.Label('gnd', (1.68,8.07), layer=15, texttype=0))
delay_chain_0.add(gdstk.Label('gnd', (1.12,5.38), layer=15, texttype=0))
delay_chain_0.add(gdstk.Label('gnd', (1.68,2.69), layer=15, texttype=0))
delay_chain_0.add(gdstk.Label('gnd', (2.24,5.38), layer=15, texttype=0))
delay_chain_0.add(gdstk.Label('in', (0.07,0.314), layer=13, texttype=0))
delay_chain_0.add(gdstk.Label('out', (2.5525,5.694), layer=13, texttype=0))

lib.write_gds('delay_chain_0.gds')
